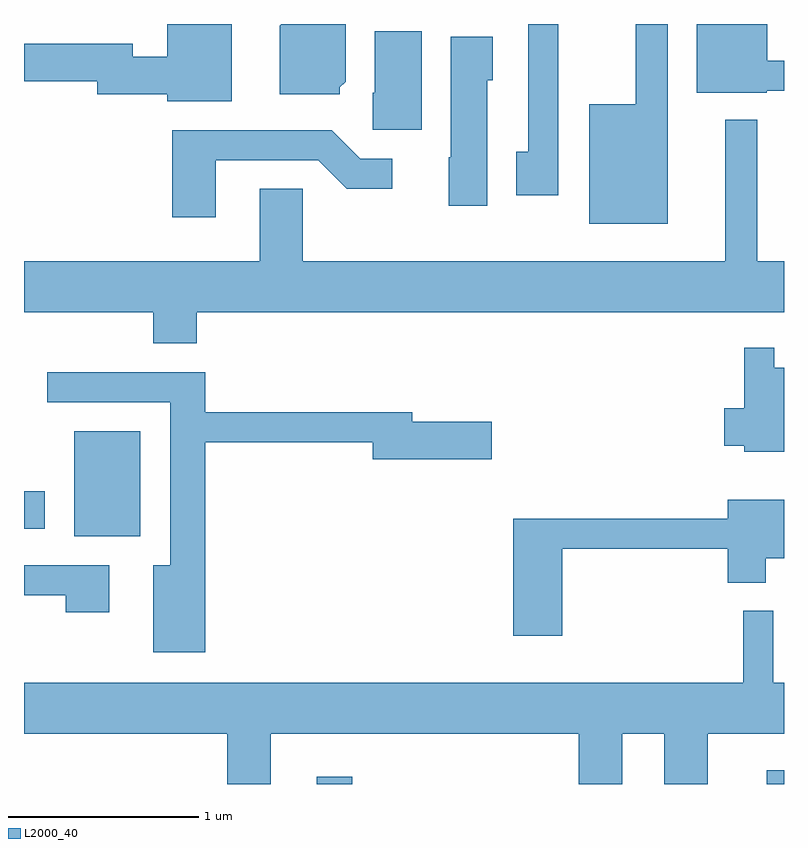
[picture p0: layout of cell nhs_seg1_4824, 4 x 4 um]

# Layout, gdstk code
import gdstk
lib = gdstk.Library(unit=1e-6, precision=1e-09)
def R(c, l, rs):  # rectangles x0, y0, x1, y1
    for r in rs: c.add(gdstk.rectangle(r[:2], r[2:], *l))
def P(c, l, *ps):  # polygons
    for p in ps: c.add(gdstk.Polygon(p, *l))
L2000_40 = (2000, 40)

nhs_seg1_4824 = lib.new_cell('nhs_seg1_4824')
R(nhs_seg1_4824, L2000_40, [(331.151,943.712,331.339,943.749), (333.521,943.712,333.611,943.784), (329.876,945.016,330.224,945.569), (329.611,945.056,329.719,945.254)])
P(nhs_seg1_4824, L2000_40, [(330.704,947.712),(330.366,947.712),(330.366,947.539),(330.184,947.539),(330.184,947.609),(329.611,947.609),(329.611,947.411),(329.996,947.411),(329.996,947.341),(330.366,947.341),(330.366,947.306),(330.704,947.306)],
  [(332.999,947.712),(332.831,947.712),(332.831,947.289),(332.586,947.289),(332.586,946.661),(332.999,946.661)],
  [(333.52,947.361),(333.611,947.361),(333.611,947.519),(333.524,947.519),(333.524,947.712),(333.151,947.712),(333.151,947.351),(333.52,947.351)],
  [(332.424,947.712),(332.266,947.712),(332.266,947.039),(332.201,947.039),(332.201,946.811),(332.424,946.811)],
  [(331.274,947.379),(331.304,947.409),(331.304,947.712),(330.964,947.712),(330.956,947.704),(330.956,947.341),(331.274,947.341)],
  [(331.704,947.674),(331.456,947.674),(331.456,947.35),(331.446,947.35),(331.446,947.156),(331.704,947.156)],
  [(332.049,947.416),(332.079,947.416),(332.079,947.644),(331.856,947.644),(331.856,947.01),(331.846,947.01),(331.846,946.756),(332.049,946.756)],
  [(330.519,946.196),(333.611,946.196),(333.611,946.464),(333.469,946.464),(333.469,947.208),(333.301,947.208),(333.301,946.464),(331.079,946.464),(331.079,946.844),(330.851,946.844),(330.851,946.464),(329.611,946.464),(329.611,946.196),(330.291,946.196),(330.291,946.031),(330.519,946.031)],
  [(330.619,946.996),(331.159,946.996),(331.309,946.846),(331.548,946.846),(331.548,947.004),(331.382,947.004),(331.232,947.154),(330.391,947.154),(330.391,946.696),(330.619,946.696)],
  [(333.611,945.904),(333.559,945.904),(333.559,946.008),(333.401,946.008),(333.401,945.689),(333.296,945.689),(333.296,945.491),(333.401,945.491),(333.401,945.461),(333.611,945.461)],
  [(330.564,945.511),(331.446,945.511),(331.446,945.421),(332.074,945.421),(332.074,945.619),(331.654,945.619),(331.654,945.669),(330.564,945.669),(330.564,945.879),(329.733,945.879),(329.733,945.721),(330.381,945.721),(330.381,944.864),(330.291,944.864),(330.291,944.406),(330.564,944.406)],
  [(332.444,944.951),(333.316,944.951),(333.316,944.771),(333.514,944.771),(333.514,944.901),(333.611,944.901),(333.611,945.209),(333.316,945.209),(333.316,945.109),(332.186,945.109),(332.186,944.491),(332.444,944.491)],
  [(330.059,944.864),(329.611,944.864),(329.611,944.706),(329.831,944.706),(329.831,944.616),(330.059,944.616)],
  [(330.909,943.976),(332.531,943.976),(332.531,943.712),(332.759,943.712),(332.759,943.976),(332.981,943.976),(332.981,943.712),(333.209,943.712),(333.209,943.976),(333.611,943.976),(333.611,944.244),(333.554,944.244),(333.554,944.623),(333.396,944.623),(333.396,944.244),(329.611,944.244),(329.611,943.976),(330.681,943.976),(330.681,943.712),(330.909,943.712)])

lib.write_gds('nhs_seg1_4824.gds')
